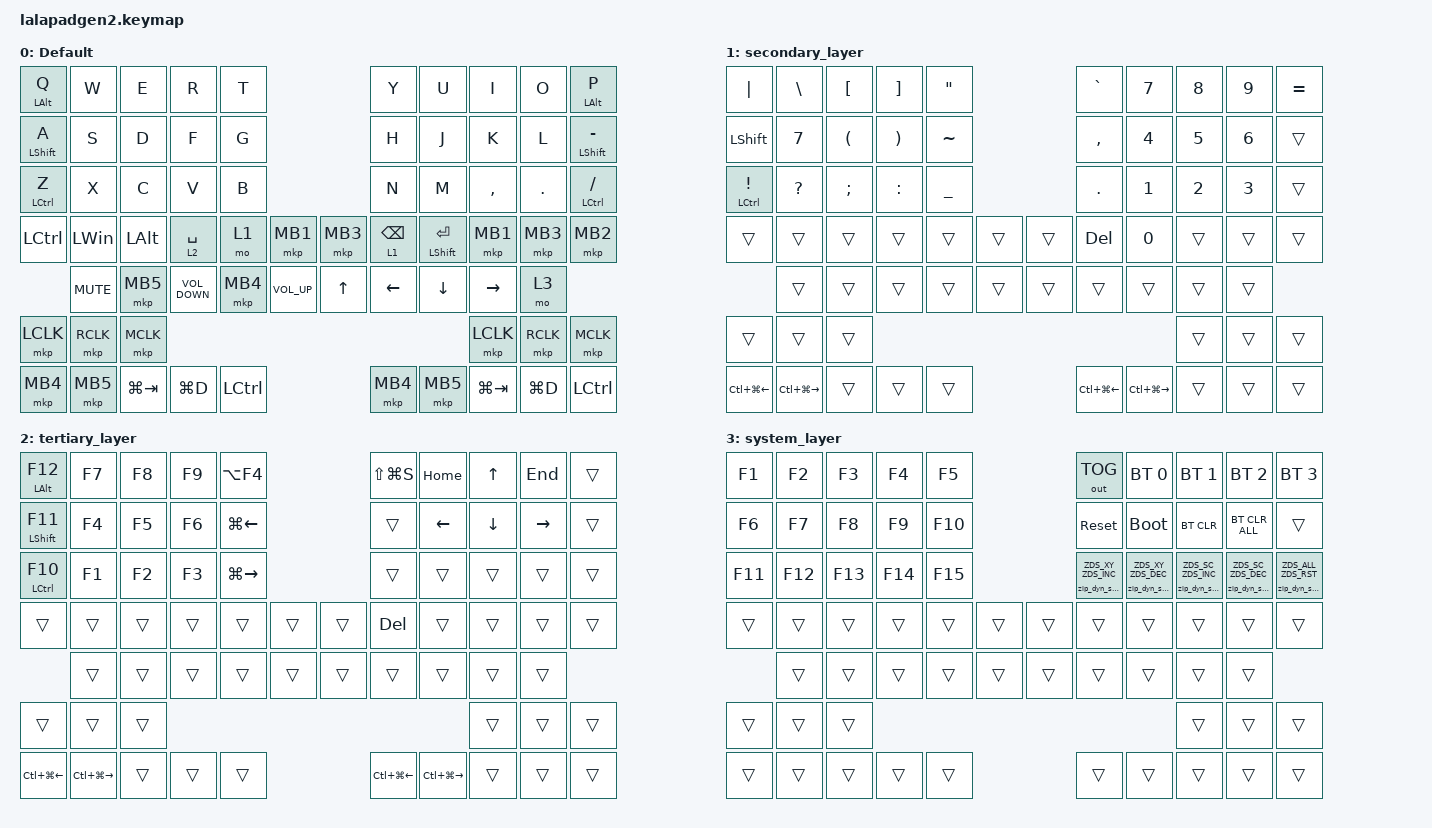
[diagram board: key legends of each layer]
#include <input/processors.dtsi>
#include <dt-bindings/zmk/zip_dynamic_scale.h>
#include <behaviors.dtsi>
#include <dt-bindings/zmk/bt.h>
#include <dt-bindings/zmk/keys.h>
#include <dt-bindings/zmk/outputs.h>
#include <dt-bindings/zmk/pointing.h>

#define DEFAULT_LAYER   0
#define SECONDARY_LAYER 1
#define TERTIARY_LAYER  2
#define SYSTEM_LAYER    3

&mt { quick-tap-ms = <200>; };

&lt { quick-tap-ms = <200>; };

/ {
    behaviors {
        zip_dyn_scale: zip_dyn_scale {
            compatible = "zmk,behavior-zip-dynamic-scale";
            #binding-cells = <2>;
        };

        zip_dyn_scale_set: zip_dyn_scale_set {
            compatible = "zmk,behavior-zip-dynamic-scale-set";
            #binding-cells = <2>;
        };

        mt2: mod_tap2 {
            compatible = "zmk,behavior-hold-tap";
            #binding-cells = <2>;
            flavor = "tap-preferred";
            tapping-term-ms = <200>;
            quick-tap-ms = <200>;
            require-prior-idle-ms = <125>;
            bindings = <&kp>, <&kp>;
        };

        tap_dance_layer_1and2: tap_dance_layer_1and2 {
            compatible = "zmk,behavior-tap-dance";
            label = "td_mo12";
            #binding-cells = <0>;
            bindings = <&mo 1>, <&mo 2>;
        };
    };

    combos {
        compatible = "zmk,combos";

        CONBO_ESC {
            bindings = <&kp ESCAPE>;
            key-positions = <0 1>;
        };

        COMBO_TAB {
            bindings = <&kp TAB>;
            key-positions = <10 11>;
        };

        lang1 {
            bindings = <&kp LANGUAGE_1>;
            key-positions = <12 13>;
        };

        lang2 {
            bindings = <&kp LANGUAGE_2>;
            key-positions = <17 16>;
        };
    };

    keymap {
        compatible = "zmk,keymap";

        DEFAULT_LAYER {
            display-name = "Default";
            bindings = <
&mt2 LEFT_ALT Q      &kp W       &kp E         &kp R              &kp T                                 &kp Y            &kp U                &kp I        &kp O       &mt2 LEFT_ALT P
&mt2 LEFT_SHIFT A    &kp S       &kp D         &kp F              &kp G                                 &kp H            &kp J                &kp K        &kp L       &mt2 LEFT_SHIFT MINUS
&mt2 LEFT_CONTROL Z  &kp X       &kp C         &kp V              &kp B                                 &kp N            &kp M                &kp COMMA    &kp PERIOD  &mt2 LEFT_CONTROL SLASH
&kp LCTRL            &kp LWIN    &kp LEFT_ALT  &lt 2 SPACE        &mo 1      &mkp MB1         &mkp MB3  &lt 1 BACKSPACE  &mt2 LEFT_SHIFT RET  &mkp MB1     &mkp MB3    &mkp MB2
                     &kp C_MUTE  &mkp MB5      &kp C_VOLUME_DOWN  &mkp MB4   &kp C_VOLUME_UP  &kp UP    &kp LEFT         &kp DOWN             &kp RIGHT    &mo 3
&mkp LCLK            &mkp RCLK   &mkp MCLK                                                                                                    &mkp LCLK    &mkp RCLK   &mkp MCLK
&mkp MB4             &mkp MB5    &kp LG(TAB)   &kp LG(D)          &kp LCTRL                             &mkp MB4         &mkp MB5             &kp LG(TAB)  &kp LG(D)   &kp LCTRL
            >;
        };

        SECONDARY_LAYER {
            display-name = "secondary_layer";
            bindings = <
&kp PIPE          &kp BACKSLASH      &kp LEFT_BRACKET      &kp RIGHT_BRACKET      &kp DOUBLE_QUOTES                  &kp GRAVE         &kp N7             &kp N8        &kp N9        &kp EQUAL
&kp LEFT_SHIFT    &kp N7             &kp LEFT_PARENTHESIS  &kp RIGHT_PARENTHESIS  &kp TILDE                          &kp COMMA         &kp NUMBER_4       &kp N5        &kp NUMBER_6  &trans
&mt2 LCTRL EXCL   &kp QUESTION       &kp SEMICOLON         &kp COLON              &kp UNDER                          &kp PERIOD        &kp NUMBER_1       &kp NUMBER_2  &kp NUMBER_3  &trans
&trans            &trans             &trans                &trans                 &trans             &trans  &trans  &kp DEL           &kp N0             &trans        &trans        &trans
                  &trans             &trans                &trans                 &trans             &trans  &trans  &trans            &trans             &trans        &trans
&trans            &trans             &trans                                                                                                               &trans        &trans        &trans
&kp LC(LG(LEFT))  &kp LC(LG(RIGHT))  &trans                &trans                 &trans                             &kp LC(LG(LEFT))  &kp LC(LG(RIGHT))  &trans        &trans        &trans
            >;
        };

        TERTIARY_LAYER {
            display-name = "tertiary_layer";
            bindings = <
&mt2 LEFT_ALT F12       &kp F7                   &kp F8  &kp F9  &kp LA(F4)                           &kp LS(LG(S))           &kp HOME                 &kp UP_ARROW    &kp END    &trans
&mt2 LEFT_SHIFT F11     &kp F4                   &kp F5  &kp F6  &kp LG(LEFT_ARROW)                   &trans                  &kp LEFT                 &kp DOWN_ARROW  &kp RIGHT  &trans
&mt2 LEFT_CONTROL F10   &kp F1                   &kp F2  &kp F3  &kp LG(RIGHT_ARROW)                  &trans                  &trans                   &trans          &trans     &trans
&trans                  &trans                   &trans  &trans  &trans               &trans  &trans  &kp DELETE              &trans                   &trans          &trans     &trans
                        &trans                   &trans  &trans  &trans               &trans  &trans  &trans                  &trans                   &trans          &trans
&trans                  &trans                   &trans                                                                                                &trans          &trans     &trans
&kp LC(LG(LEFT_ARROW))  &kp LC(LG(RIGHT_ARROW))  &trans  &trans  &trans                               &kp LC(LG(LEFT_ARROW))  &kp LC(LG(RIGHT_ARROW))  &trans          &trans     &trans
            >;
        };

        SYSTEM_LAYER {
            display-name = "system_layer";
            bindings = <
&kp F1   &kp F2   &kp F3   &kp F4   &kp F5                   &out OUT_TOG                   &bt BT_SEL 0                   &bt BT_SEL 1                   &bt BT_SEL 2                   &bt BT_SEL 3
&kp F6   &kp F7   &kp F8   &kp F9   &kp F10                  &sys_reset                     &bootloader                    &bt BT_CLR                     &bt BT_CLR_ALL                 &trans
&kp F11  &kp F12  &kp F13  &kp F14  &kp F15                  &zip_dyn_scale ZDS_XY ZDS_INC  &zip_dyn_scale ZDS_XY ZDS_DEC  &zip_dyn_scale ZDS_SC ZDS_INC  &zip_dyn_scale ZDS_SC ZDS_DEC  &zip_dyn_scale ZDS_ALL ZDS_RST
&trans   &trans   &trans   &trans   &trans   &trans  &trans  &trans                         &trans                         &trans                         &trans                         &trans
         &trans   &trans   &trans   &trans   &trans  &trans  &trans                         &trans                         &trans                         &trans
&trans   &trans   &trans                                                                                                   &trans                         &trans                         &trans
&trans   &trans   &trans   &trans   &trans                   &trans                         &trans                         &trans                         &trans                         &trans
            >;
        };
    };

    conditional_layers { compatible = "zmk,conditional-layers"; };
};
